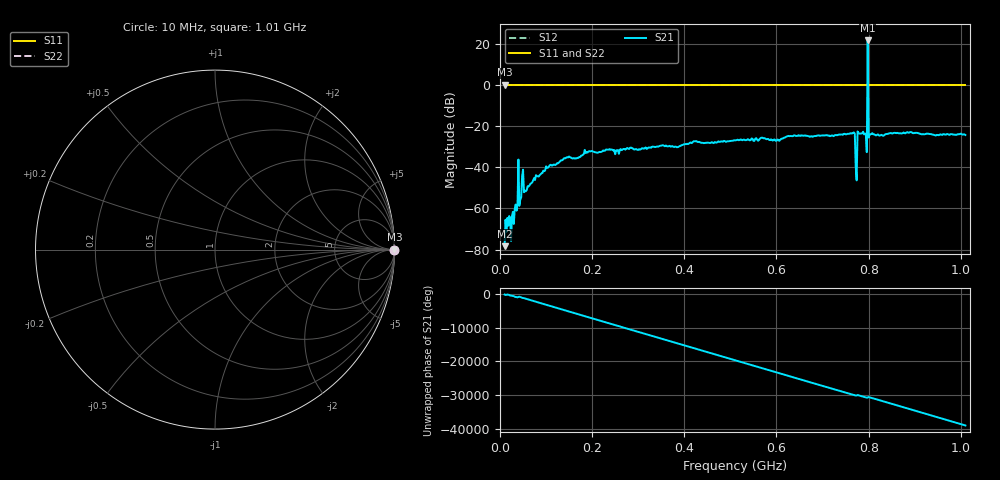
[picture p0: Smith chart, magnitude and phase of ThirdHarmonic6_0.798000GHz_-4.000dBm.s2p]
! 8/16/2025 2:36:21 AM
! C:\ANRITSUVNA\TEMP\TEMP.S2P
! CHANNEL.1
! TR.MEASUREMENT
! RAW.DATA
! RF.CORRECTION.OFF
! AVERAGING.OFF
! IF.BANDWIDTH: 5KHZ
! SWEEPTYPE:  FREQ.SWEEP(Linear)
! Reference Plane Port Info
! PORT:  PORT1  PORT2
! DISTANCE:  0  m  0  m
! TIME:  0  s  0  s
! PHASE.OFFSET:  0  deg.  0  deg.
! LOSS:  0  dB  0  dB
! REF.LOSS:  0  dB  0  dB
! REF.FREQ:  0  Hz  0  Hz
! Power Info
! POWER:  -20  dBm  -20  dBm
! EFF.POWER:  -20  dBm  -20  dBm
! SOURCE.ATTEN:  0  dB  0  dB
! TEST.ATTEN:  0  dB  0  dB
# GHZ S RI R 50.0
! FREQ.GHZ  S11RE  S11IM  S21RE  S21IM  S12RE  S12IM  S22RE  S22IM
!; PortSelection: Port_12
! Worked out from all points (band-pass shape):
!   501 points, 10 MHz to 1.01 GHz, reference 50 ohm
!   highest |S21| = 21.48 dB at 798 MHz (marker M1); lowest = -78.3 dB at 10 MHz (marker M2)
!   |S21| within 3 dB of the highest: 797.8892 MHz to 798.1274 MHz (238.2 kHz wide, 0.0299 % of centre)
!   lowest |S11| = 0.0 dB at 10 MHz (marker M3)
!   |S11| at or under -10 dB: nowhere
!   |S22| runs from 0.0 to 0.0 dB; largest |S21 - S12| = 12
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0.01  1 0  -2.11e-05 -0.00012  1 0  1 0
0.016  1 0  -0.000123 -0.000578  1 0  1 0
0.028  1 0  -0.000803 0.000202  1 0  1 0
0.036  1 0  -0.000806 -0.000369  1 0  1 0
0.044  1 0  -0.000782 -0.00143  1 0  1 0
0.056  1 0  -0.000689 0.00252  1 0  1 0
0.104  1 0  0.00558 -0.00799  1 0  1 0
0.178  1 0  -0.0186 -0.0052  1 0  1 0
0.344  1 0  0.0312 -0.00548  1 0  1 0
0.51  1 0  -0.0427 0.0135  1 0  1 0
0.678  1 0  -0.0227 -0.0499  1 0  1 0
0.766  1 0  0.0385 -0.0564  1 0  1 0
0.77  1 0  -0.0495 0.0431  1 0  1 0
0.776  1 0  -0.0204 -0.0709  1 0  1 0
0.78  1 0  -0.00466 0.0649  1 0  1 0
0.792  1 0  0.0569 -0.0324  1 0  1 0
0.794  1 0  -0.0214 -0.0612  1 0  1 0
0.798  1 0  -4.93 -10.78  1 0  1 0
0.802  1 0  0.0206 -0.0576  1 0  1 0
0.804  1 0  -0.0546 -0.0312  1 0  1 0
0.844  1 0  0.0461 0.0471  1 0  1 0
1.01  1 0  -0.0579 -0.0172  1 0  1 0
